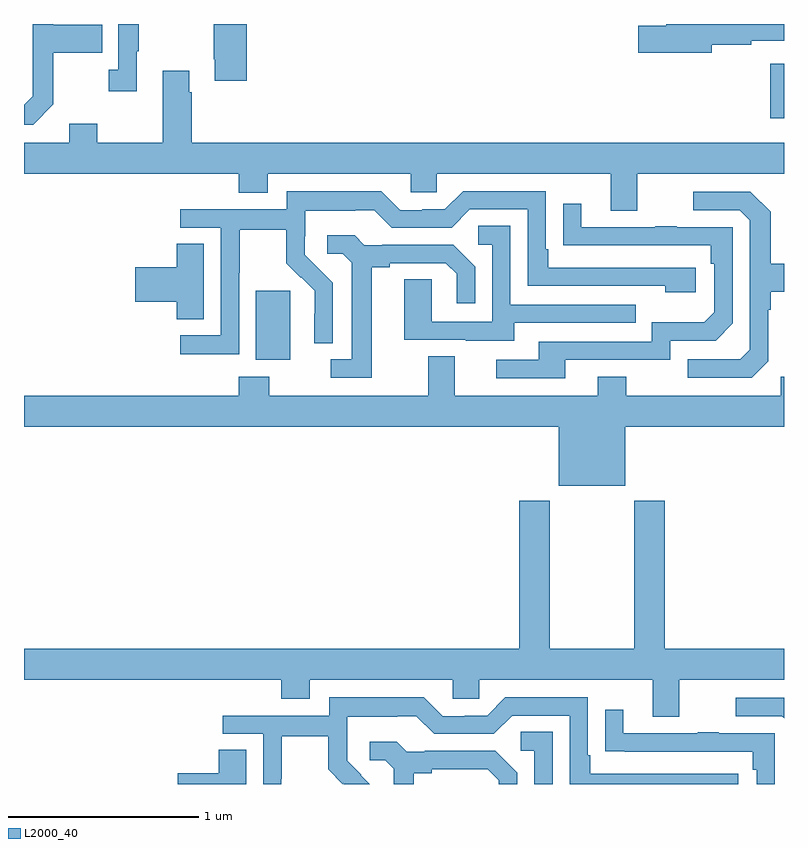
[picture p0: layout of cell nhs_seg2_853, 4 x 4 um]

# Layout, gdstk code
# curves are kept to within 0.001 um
import gdstk
lib = gdstk.Library(unit=1e-6, precision=1e-09)
def R(c, l, rs):  # rectangles x0, y0, x1, y1
    for r in rs: c.add(gdstk.rectangle(r[:2], r[2:], *l))
def P(c, l, *ps):  # polygons
    for p in ps: c.add(gdstk.Polygon(p, *l))
L2000_40 = (2000, 40)

nhs_seg2_853 = lib.new_cell('nhs_seg2_853')
R(nhs_seg2_853, L2000_40, [(156.221,604.034,156.4,604.395), (158.927,605.304,159,605.59)])
P(nhs_seg2_853, L2000_40, [(155.155,605.377),(155.155,605.65),(155.411,605.65),(155.411,605.797),(155.155,605.797),(155.155,605.8),(155.046,605.8),(155.046,605.421),(155,605.375),(155,605.271),(155.049,605.271)],
  [(155.593,605.657),(155.605,605.657),(155.605,605.8),(155.496,605.8),(155.496,605.558),(155.445,605.558),(155.445,605.445),(155.593,605.445)],
  [(156.173,605.8),(155.998,605.8),(155.998,605.614),(156.005,605.614),(156.005,605.502),(156.173,605.502)],
  [(158.62,605.692),(158.828,605.692),(158.828,605.712),(159,605.712),(159,605.8),(158.381,605.8),(158.381,605.792),(158.232,605.792),(158.232,605.65),(158.62,605.65)],
  [(158.227,605.012),(159,605.012),(159,605.176),(155.882,605.176),(155.882,605.441),(155.869,605.441),(155.869,605.554),(155.729,605.554),(155.729,605.176),(155.385,605.176),(155.385,605.275),(155.237,605.275),(155.237,605.176),(155,605.176),(155,605.012),(156.131,605.012),(156.131,604.913),(156.283,604.913),(156.283,605.012),(157.035,605.012),(157.035,604.914),(157.173,604.914),(157.173,605.012),(158.087,605.012),(158.087,604.818),(158.227,604.818)],
  [(156.132,604.492),(156.135,604.492),(156.135,604.716),(156.379,604.716),(156.379,604.541),(156.456,604.464),(156.459,604.467),(156.53,604.397),(156.53,604.274),(156.528,604.274),(156.528,604.12),(156.624,604.12),(156.624,604.438),(156.478,604.586),(156.478,604.683),(156.48,604.683),(156.48,604.817),(156.743,604.817),(156.743,604.821),(156.843,604.821),(156.936,604.728),(157.251,604.728),(157.347,604.824),(157.65,604.824),(157.65,604.422),(158.375,604.422),(158.375,604.388),(158.536,604.388),(158.536,604.518),(157.759,604.518),(157.759,604.615),(157.746,604.615),(157.746,604.92),(157.311,604.92),(157.215,604.824),(157.097,604.824),(157.097,604.821),(156.981,604.821),(156.881,604.921),(156.384,604.921),(156.384,604.824),(155.823,604.824),(155.823,604.728),(156.036,604.728),(156.036,604.161),(155.823,604.161),(155.823,604.063),(156.132,604.063)],
  [(158.916,604.026),(158.916,604.295),(158.929,604.295),(158.929,604.391),(159,604.391),(159,604.539),(158.929,604.539),(158.929,604.811),(158.823,604.917),(158.523,604.917),(158.523,604.821),(158.766,604.821),(158.82,604.767),(158.82,604.086),(158.769,604.035),(158.493,604.035),(158.493,603.939),(158.829,603.939)],
  [(157.849,604.032),(158.4,604.032),(158.4,604.134),(158.64,604.134),(158.73,604.224),(158.73,604.731),(158.435,604.731),(158.435,604.736),(158.323,604.736),(158.323,604.731),(157.933,604.731),(157.933,604.855),(157.837,604.855),(157.837,604.636),(158.614,604.635),(158.614,604.538),(158.634,604.538),(158.634,604.284),(158.581,604.231),(158.304,604.231),(158.304,604.128),(157.709,604.128),(157.709,604.032),(157.485,604.032),(157.485,603.936),(157.849,603.936)],
  [(157.579,604.227),(158.219,604.227),(158.219,604.323),(157.56,604.323),(157.56,604.739),(157.392,604.739),(157.392,604.638),(157.464,604.638),(157.464,604.233),(157.146,604.233),(157.146,604.457),(157.001,604.457),(157.001,604.137),(157.325,604.137),(157.325,604.133),(157.579,604.133)],
  [(156.829,604.52),(156.925,604.52),(156.925,604.542),(157.22,604.542),(157.277,604.485),(157.277,604.329),(157.374,604.329),(157.374,604.522),(157.258,604.638),(156.886,604.638),(156.886,604.635),(156.792,604.635),(156.74,604.687),(156.597,604.687),(156.597,604.59),(156.678,604.59),(156.725,604.543),(156.725,604.035),(156.615,604.035),(156.615,603.939),(156.829,603.939)],
  [(155.947,604.643),(155.804,604.643),(155.804,604.52),(155.586,604.52),(155.586,604.337),(155.804,604.337),(155.804,604.246),(155.947,604.246)],
  [(158.164,603.68),(159,603.68),(159,603.943),(158.982,603.943),(158.982,603.844),(158.169,603.844),(158.169,603.943),(158.021,603.943),(158.021,603.844),(157.267,603.844),(157.267,604.052),(157.127,604.052),(157.127,603.844),(156.291,603.844),(156.291,603.943),(156.131,603.943),(156.131,603.844),(155,603.844),(155,603.68),(157.814,603.68),(157.814,603.371),(158.164,603.371)],
  [(158.372,603.292),(158.212,603.292),(158.212,602.512),(157.767,602.512),(157.767,603.292),(157.607,603.292),(157.607,602.512),(155,602.512),(155,602.348),(156.353,602.348),(156.353,602.249),(156.505,602.249),(156.505,602.348),(157.257,602.348),(157.257,602.25),(157.395,602.25),(157.395,602.348),(158.309,602.348),(158.309,602.154),(158.449,602.154),(158.449,602.348),(159,602.348),(159,602.512),(158.372,602.512)],
  [(156.354,601.828),(156.357,601.828),(156.357,602.052),(156.601,602.052),(156.601,601.877),(156.678,601.8),(156.681,601.803),(156.684,601.8),(156.82,601.8),(156.7,601.922),(156.7,602.019),(156.702,602.019),(156.702,602.153),(156.965,602.153),(156.965,602.157),(157.065,602.157),(157.158,602.064),(157.473,602.064),(157.569,602.16),(157.872,602.16),(157.872,601.8),(158.758,601.8),(158.758,601.854),(157.981,601.854),(157.981,601.951),(157.968,601.951),(157.968,602.256),(157.533,602.256),(157.437,602.16),(157.319,602.16),(157.319,602.157),(157.203,602.157),(157.103,602.257),(156.606,602.257),(156.606,602.16),(156.045,602.16),(156.045,602.064),(156.258,602.064),(156.258,601.8),(156.354,601.8)],
  [(159,602.253),(158.745,602.253),(158.745,602.157),(158.988,602.157),(159,602.145)],
  [(158.952,602.067),(158.657,602.067),(158.657,602.072),(158.545,602.072),(158.545,602.067),(158.155,602.067),(158.155,602.191),(158.059,602.191),(158.059,601.972),(158.161,601.972),(158.161,601.971),(158.836,601.971),(158.836,601.874),(158.856,601.874),(158.856,601.8),(158.952,601.8)],
  [(157.782,602.075),(157.614,602.075),(157.614,601.974),(157.686,601.974),(157.686,601.8),(157.782,601.8)],
  [(157.051,601.856),(157.147,601.856),(157.147,601.878),(157.442,601.878),(157.499,601.821),(157.499,601.8),(157.596,601.8),(157.596,601.858),(157.48,601.974),(157.108,601.974),(157.108,601.971),(157.014,601.971),(156.962,602.023),(156.819,602.023),(156.819,601.926),(156.9,601.926),(156.947,601.879),(156.947,601.8),(157.051,601.8)],
  [(156.169,601.979),(156.026,601.979),(156.026,601.856),(155.808,601.856),(155.808,601.8),(156.169,601.8)])

lib.write_gds('nhs_seg2_853.gds')
